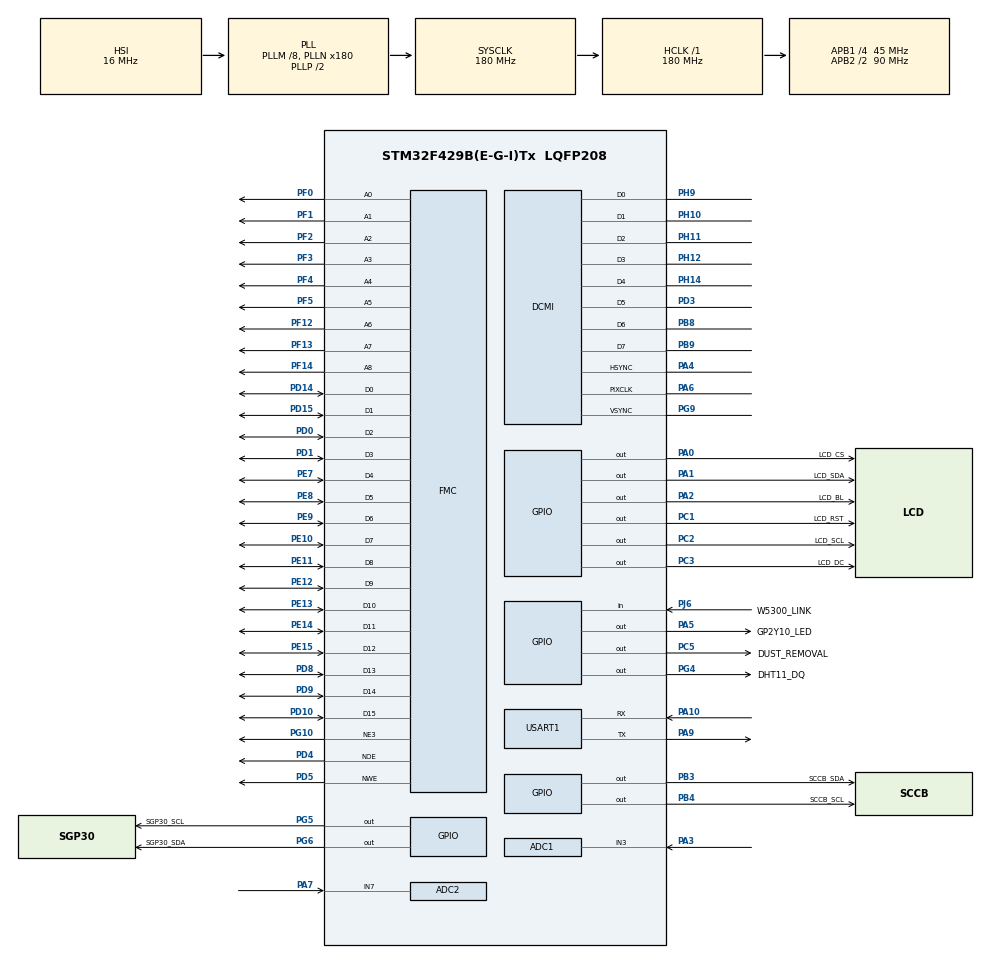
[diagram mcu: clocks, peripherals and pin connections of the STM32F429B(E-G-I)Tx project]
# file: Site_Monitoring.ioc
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ADC1.Channel-0\#ChannelRegularConversion=ADC_CHANNEL_3
ADC1.NbrOfConversionFlag=1
ADC1.Rank-0\#ChannelRegularConversion=1
ADC1.SamplingTime-0\#ChannelRegularConversion=ADC_SAMPLETIME_3CYCLES
ADC1.master=1
ADC2.Channel-1\#ChannelRegularConversion=ADC_CHANNEL_7
ADC2.NbrOfConversionFlag=1
ADC2.Rank-1\#ChannelRegularConversion=1
ADC2.SamplingTime-1\#ChannelRegularConversion=ADC_SAMPLETIME_3CYCLES
DCMI.JPEGMode=DCMI_JPEG_DISABLE
DCMI.PCKPolarity=DCMI_PCKPOLARITY_RISING
Dma.DCMI.0.Direction=DMA_PERIPH_TO_MEMORY
Dma.DCMI.0.FIFOMode=DMA_FIFOMODE_ENABLE
Dma.DCMI.0.FIFOThreshold=DMA_FIFO_THRESHOLD_HALFFULL
Dma.DCMI.0.Instance=DMA2_Stream1
Dma.DCMI.0.MemBurst=DMA_MBURST_SINGLE
Dma.DCMI.0.MemDataAlignment=DMA_MDATAALIGN_HALFWORD
Dma.DCMI.0.MemInc=DMA_MINC_DISABLE
Dma.DCMI.0.Mode=DMA_CIRCULAR
Dma.DCMI.0.PeriphBurst=DMA_PBURST_SINGLE
Dma.DCMI.0.PeriphDataAlignment=DMA_PDATAALIGN_WORD
Dma.DCMI.0.PeriphInc=DMA_PINC_DISABLE
Dma.DCMI.0.Priority=DMA_PRIORITY_HIGH
Dma.Request0=DCMI
FMC.WriteOperation1=FMC_WRITE_OPERATION_ENABLE
Mcu.Family=STM32F4
Mcu.Name=STM32F429B(E-G-I)Tx
Mcu.Package=LQFP208
NVIC.DCMI_IRQn=true\:0\:0\:true\:false\:true\:true\:true\:true
NVIC.DMA2_Stream1_IRQn=true\:0\:0\:true\:false\:true\:false\:true\:true
NVIC.PriorityGroup=NVIC_PRIORITYGROUP_4
NVIC.TIM6_DAC_IRQn=true\:0\:0\:false\:false\:true\:true\:true\:true
PA0/WKUP.GPIO_Label=LCD_CS
PA0/WKUP.Signal=GPIO_Output
PA1.GPIO_Label=LCD_SDA
PA1.Signal=GPIO_Output
PA10.Mode=Asynchronous
PA10.Signal=USART1_RX
PA2.GPIO_Label=LCD_BL
PA2.Signal=GPIO_Output
PA3.Signal=ADCx_IN3
PA4.Mode=Slave_8_bits_External_Synchro
PA4.Signal=DCMI_HSYNC
PA5.GPIO_Label=GP2Y10_LED
PA5.GPIO_PuPd=GPIO_PULLUP
PA5.GPIO_Speed=GPIO_SPEED_FREQ_HIGH
PA5.Signal=GPIO_Output
PA6.Mode=Slave_8_bits_External_Synchro
PA6.Signal=DCMI_PIXCLK
PA7.Signal=ADCx_IN7
PA9.Mode=Asynchronous
PA9.Signal=USART1_TX
PB3.GPIO_Label=SCCB_SDA
PB3.GPIO_PuPd=GPIO_PULLUP
PB3.GPIO_Speed=GPIO_SPEED_FREQ_HIGH
PB3.Signal=GPIO_Output
PB4.GPIO_Label=SCCB_SCL
PB4.GPIO_PuPd=GPIO_PULLUP
PB4.GPIO_Speed=GPIO_SPEED_FREQ_HIGH
PB4.Signal=GPIO_Output
PB8.Mode=Slave_8_bits_External_Synchro
PB8.Signal=DCMI_D6
PB9.Mode=Slave_8_bits_External_Synchro
PB9.Signal=DCMI_D7
PC1.GPIO_Label=LCD_RST
PC1.Signal=GPIO_Output
PC2.GPIO_Label=LCD_SCL
PC2.Signal=GPIO_Output
PC3.GPIO_Label=LCD_DC
PC3.Signal=GPIO_Output
PC5.GPIO_Label=DUST_REMOVAL
PC5.Signal=GPIO_Output
PD0.Signal=FMC_D2_DA2
PD1.Signal=FMC_D3_DA3
PD10.Signal=FMC_D15_DA15
PD14.Signal=FMC_D0_DA0
PD15.Signal=FMC_D1_DA1
PD3.Mode=Slave_8_bits_External_Synchro
PD3.Signal=DCMI_D5
PD4.Signal=FMC_NOE
PD5.Signal=FMC_NWE
PD8.Signal=FMC_D13_DA13
PD9.Signal=FMC_D14_DA14
PE10.Signal=FMC_D7_DA7
PE11.Signal=FMC_D8_DA8
PE12.Signal=FMC_D9_DA9
PE13.Signal=FMC_D10_DA10
PE14.Signal=FMC_D11_DA11
PE15.Signal=FMC_D12_DA12
PE7.Signal=FMC_D4_DA4
PE8.Signal=FMC_D5_DA5
PE9.Signal=FMC_D6_DA6
PF0.Signal=FMC_A0
PF1.Signal=FMC_A1
PF12.Signal=FMC_A6
PF13.Signal=FMC_A7
PF14.Signal=FMC_A8
PF2.Signal=FMC_A2
PF3.Signal=FMC_A3
PF4.Signal=FMC_A4
PF5.Signal=FMC_A5
PG10.Mode=NorPsramChipSelect3_1
PG10.Signal=FMC_NE3
PG4.GPIO_Label=DHT11_DQ
PG4.GPIO_ModeDefaultOutputPP=GPIO_MODE_OUTPUT_OD
PG4.GPIO_PuPd=GPIO_PULLUP
PG4.GPIO_Speed=GPIO_SPEED_FREQ_HIGH
PG4.PinState=GPIO_PIN_SET
PG4.Signal=GPIO_Output
PG5.GPIO_Label=SGP30_SCL
PG5.GPIO_PuPd=GPIO_PULLUP
PG5.GPIO_Speed=GPIO_SPEED_FREQ_HIGH
PG5.Signal=GPIO_Output
PG6.GPIO_Label=SGP30_SDA
PG6.GPIO_PuPd=GPIO_PULLUP
PG6.GPIO_Speed=GPIO_SPEED_FREQ_HIGH
PG6.Signal=GPIO_Output
PG9.Mode=Slave_8_bits_External_Synchro
PG9.Signal=DCMI_VSYNC
PH0/OSC_IN.Mode=HSE-External-Oscillator
PH0/OSC_IN.Signal=RCC_OSC_IN
PH1/OSC_OUT.Mode=HSE-External-Oscillator
PH1/OSC_OUT.Signal=RCC_OSC_OUT
PH10.Mode=Slave_8_bits_External_Synchro
PH10.Signal=DCMI_D1
PH11.Mode=Slave_8_bits_External_Synchro
PH11.Signal=DCMI_D2
PH12.Mode=Slave_8_bits_External_Synchro
PH12.Signal=DCMI_D3
PH14.Mode=Slave_8_bits_External_Synchro
PH14.Signal=DCMI_D4
PH9.Mode=Slave_8_bits_External_Synchro
PH9.Signal=DCMI_D0
PJ6.GPIO_Label=W5300_LINK
PJ6.GPIO_PuPd=GPIO_NOPULL
PJ6.Signal=GPIO_Input
ProjectManager.HeapSize=0x200
ProjectManager.StackSize=0x400
ProjectManager.TargetToolchain=MDK-ARM V5.32
RCC.48MHZClocksFreq_Value=90000000
RCC.AHBFreq_Value=180000000
RCC.APB1CLKDivider=RCC_HCLK_DIV4
RCC.APB1Freq_Value=45000000
RCC.APB1TimFreq_Value=90000000
RCC.APB2CLKDivider=RCC_HCLK_DIV2
RCC.APB2Freq_Value=90000000
RCC.APB2TimFreq_Value=180000000
RCC.CortexFreq_Value=180000000
RCC.HCLKFreq_Value=180000000
RCC.HSE_VALUE=25000000
RCC.HSI_VALUE=16000000
RCC.LSE_VALUE=32768
RCC.PLLM=8
RCC.PLLN=180
RCC.PLLSAIN=50
RCC.SYSCLKFreq_VALUE=180000000
RCC.SYSCLKSource=RCC_SYSCLKSOURCE_PLLCLK
RCC.VCOOutputFreq_Value=360000000
SH.ADCx_IN3.0=ADC1_IN3,IN3
SH.ADCx_IN7.0=ADC2_IN7,IN7
SH.FMC_A0.0=FMC_A0,9b-a1
SH.FMC_A1.0=FMC_A1,9b-a1
SH.FMC_A2.0=FMC_A2,9b-a1
SH.FMC_A3.0=FMC_A3,9b-a1
SH.FMC_A4.0=FMC_A4,9b-a1
SH.FMC_A5.0=FMC_A5,9b-a1
SH.FMC_A6.0=FMC_A6,9b-a1
SH.FMC_A7.0=FMC_A7,9b-a1
SH.FMC_A8.0=FMC_A8,9b-a1
SH.FMC_D0_DA0.0=FMC_D0,16b-d1
SH.FMC_D10_DA10.0=FMC_D10,16b-d1
SH.FMC_D11_DA11.0=FMC_D11,16b-d1
SH.FMC_D12_DA12.0=FMC_D12,16b-d1
SH.FMC_D13_DA13.0=FMC_D13,16b-d1
SH.FMC_D14_DA14.0=FMC_D14,16b-d1
SH.FMC_D15_DA15.0=FMC_D15,16b-d1
SH.FMC_D1_DA1.0=FMC_D1,16b-d1
SH.FMC_D2_DA2.0=FMC_D2,16b-d1
SH.FMC_D3_DA3.0=FMC_D3,16b-d1
SH.FMC_D4_DA4.0=FMC_D4,16b-d1
SH.FMC_D5_DA5.0=FMC_D5,16b-d1
SH.FMC_D6_DA6.0=FMC_D6,16b-d1
SH.FMC_D7_DA7.0=FMC_D7,16b-d1
SH.FMC_D8_DA8.0=FMC_D8,16b-d1
SH.FMC_D9_DA9.0=FMC_D9,16b-d1
SH.FMC_NOE.0=FMC_NOE,Psram1
SH.FMC_NWE.0=FMC_NWE,Psram1
TIM6.AutoReloadPreload=TIM_AUTORELOAD_PRELOAD_ENABLE
TIM6.Period=45000-1
TIM6.Prescaler=1
USART1.VirtualMode=VM_ASYNC
VP_TIM6_VS_ClockSourceINT.Mode=Enable_Timer
board=custom

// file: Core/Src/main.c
/* USER CODE BEGIN Header */
/**
 ******************************************************************************
 * @file           : main.c
 * @brief          : Main program body
 ******************************************************************************
 * @attention
 *
 * Copyright (c) 2023 STMicroelectronics.
 * All rights reserved.
 *
 * This software is licensed under terms that can be found in the LICENSE file
 * in the root directory of this software component.
 * If no LICENSE file comes with this software, it is provided AS-IS.
 *
 ******************************************************************************
 */
/* USER CODE END Header */
#include "main.h"
#include "adc.h"
#include "dcmi.h"
#include "dma.h"
#include "tim.h"
#include "usart.h"
#include "gpio.h"
#include "fmc.h"

/* USER CODE BEGIN Includes */

#include <stdio.h>
#include <string.h>
#include <stdlib.h>
#include "delay.h"
#include "w5300_config.h"
#include "w5300_aliyun.h"
#include "eth_video.h"
#include "lcd.h"
#include "sgp30.h"
#include "gp2y10.h"
#include "light_check.h"
#include "dht11.h"

/* USER CODE END Includes */

/* USER CODE BEGIN PV */

uint8_t parms_update_count = 0;
uint8_t image_update_count = 0;
uint8_t aliyun_auto_up_count = 0;

/* USER CODE END PV */

void SystemClock_Config(void);
/* USER CODE BEGIN PFP */

void demo_run(void);

/* USER CODE END PFP */

int main(void)
{
  /* USER CODE BEGIN 1 */

  uint8_t lcd_buff[64] = {0};
  uint32_t sgp30_dat = 0;
  uint32_t CO2Data = 0;
  uint32_t TVOCData = 0;
  uint16_t AQI = 0;
  uint16_t PM25 = 0;
  uint16_t Light = 0;
  uint8_t Temperature = 0;
  uint8_t Humidity = 0;
  uint8_t bust_removal_flag = 0;

  uint8_t payload[128] = {0};

  /* USER CODE END 1 */

  /* MCU Configuration--------------------------------------------------------*/

  /* Reset of all peripherals, Initializes the Flash interface and the Systick. */
  HAL_Init();

  /* Configure the system clock */
  SystemClock_Config();

  /* Initialize all configured peripherals */
  MX_GPIO_Init();
  MX_DMA_Init();
  MX_DCMI_Init();
  MX_USART1_UART_Init();
  MX_FMC_Init();
  MX_ADC1_Init();
  MX_TIM6_Init();
  MX_ADC2_Init();
  /* USER CODE BEGIN 2 */

  delay_init(180);

  printf("STM32F429BIT6  WizNET W5300.\r\n");

  w5300_init();
  aliyun_init();
  eth_video_init();
  LCD_Init();
  SGP30_Init();
  dht11_init();

  /* USER CODE END 2 */

  /* Infinite loop */
  /* USER CODE BEGIN WHILE */

  LCD_Clear(BLACK);
  POINT_COLOR = RED;
  BACK_COLOR = BLACK;
  LCD_ShowString(0, 0, 240, 16, 16, "Initializing...");

  do
  {
    SGP30_Write(0x20, 0x08);
    sgp30_dat = SGP30_Read();
    CO2Data = (sgp30_dat & 0xffff0000) >> 16;
    TVOCData = sgp30_dat & 0x0000ffff;
    HAL_Delay(100);
  } while (CO2Data == 400 && TVOCData == 0);

  LCD_Clear(WHITE);

  while (1)
  {
    do_aliyun_run();
    eth_video_run();

    SGP30_Write(0x20, 0x08);
    sgp30_dat = SGP30_Read();
    CO2Data = (sgp30_dat & 0xffff0000) >> 16;
    TVOCData = sgp30_dat & 0x0000ffff;

    get_gp2y10_value(&AQI, &PM25);

    get_light_value(&Light);

    dht11_read_data(&Temperature, &Humidity);

    if ((AQI >= 50) || (Temperature > 40))
    {
      HAL_GPIO_WritePin(DUST_REMOVAL_GPIO_Port, DUST_REMOVAL_Pin, GPIO_PIN_RESET);
      bust_removal_flag = 1;
    }
    else
    {
      HAL_GPIO_WritePin(DUST_REMOVAL_GPIO_Port, DUST_REMOVAL_Pin, GPIO_PIN_SET);
      bust_removal_flag = 0;
    }

    if (parms_update_count >= 1)
    {
      parms_update_count = 0;
      POINT_COLOR = BLUE;
      BACK_COLOR = WHITE;

      memset(lcd_buff, 0, sizeof(lcd_buff));
      sprintf((char *)lcd_buff, "CO2:%dppm    ", CO2Data);
      LCD_ShowString(0, 160 + 16, 120, 16, 16, lcd_buff);

      memset(lcd_buff, 0, sizeof(lcd_buff));
      sprintf((char *)lcd_buff, "TVOC:%dppd    ", TVOCData);
      LCD_ShowString(120, 160 + 16, 120, 16, 16, lcd_buff);

      memset(lcd_buff, 0, sizeof(lcd_buff));
      sprintf((char *)lcd_buff, "AQI:%d    ", AQI);
      LCD_ShowString(0, 160 + 32, 120, 16, 16, lcd_buff);

      memset(lcd_buff, 0, sizeof(lcd_buff));
      sprintf((char *)lcd_buff, "PM2.5:%dmg/m3    ", PM25);
      LCD_ShowString(120, 160 + 32, 120, 16, 16, lcd_buff);

      memset(lcd_buff, 0, sizeof(lcd_buff));
      sprintf((char *)lcd_buff, "TEMP:%d    ", Temperature);
      LCD_ShowString(0, 160 + 48, 120, 16, 16, lcd_buff);

      memset(lcd_buff, 0, sizeof(lcd_buff));
      sprintf((char *)lcd_buff, "HUMI:%d%%    ", Humidity);
      LCD_ShowString(120, 160 + 48, 120, 16, 16, lcd_buff);

      memset(lcd_buff, 0, sizeof(lcd_buff));
      sprintf((char *)lcd_buff, "Light:%d%%    ", Light);
      LCD_ShowString(0, 160 + 64, 120, 16, 16, lcd_buff);

      memset(lcd_buff, 0, sizeof(lcd_buff));
      sprintf((char *)lcd_buff, "DUST:%d    ", bust_removal_flag);
      LCD_ShowString(120, 160 + 64, 120, 16, 16, lcd_buff);
    }

    if (image_update_count >= 10)
    {
      image_update_count = 0;
      LCD_ShowImage(get_video_rgb565(), 0, 0);
    }

    if (aliyun_auto_up_count >= 1)
    {
      aliyun_auto_up_count = 0;
      sprintf((char*)payload, "{\"params\":{\
\"co2\":{\"value\":%d},\
\"TVOC\":{\"value\":%d},\
\"PM25\":{\"value\":%d},\
\"mtemp\":{\"value\":%d},\
\"mhumi\":{\"value\":%d},\
\"mlux\":{\"value\":%d}\
},\"method\":\"thing.event.property.post\"}", CO2Data, TVOCData, PM25, Temperature, Humidity, Light);
      aliyun_publish(payload);
    }

    /* USER CODE END WHILE */

  }
}

void SystemClock_Config(void)
{
  RCC_OscInitTypeDef RCC_OscInitStruct = {0};
  RCC_ClkInitTypeDef RCC_ClkInitStruct = {0};

  /** Configure the main internal regulator output voltage
  */
  __HAL_RCC_PWR_CLK_ENABLE();
  __HAL_PWR_VOLTAGESCALING_CONFIG(PWR_REGULATOR_VOLTAGE_SCALE1);

  /** Initializes the RCC Oscillators according to the specified parameters
  * in the RCC_OscInitTypeDef structure.
  */
  RCC_OscInitStruct.OscillatorType = RCC_OSCILLATORTYPE_HSI;
  RCC_OscInitStruct.HSIState = RCC_HSI_ON;
  RCC_OscInitStruct.HSICalibrationValue = RCC_HSICALIBRATION_DEFAULT;
  RCC_OscInitStruct.PLL.PLLState = RCC_PLL_ON;
  RCC_OscInitStruct.PLL.PLLSource = RCC_PLLSOURCE_HSI;
  RCC_OscInitStruct.PLL.PLLM = 8;
  RCC_OscInitStruct.PLL.PLLN = 180;
  RCC_OscInitStruct.PLL.PLLP = RCC_PLLP_DIV2;
  RCC_OscInitStruct.PLL.PLLQ = 4;
  if (HAL_RCC_OscConfig(&RCC_OscInitStruct) != HAL_OK)
  {
    Error_Handler();
  }

  /** Activate the Over-Drive mode
  */
  if (HAL_PWREx_EnableOverDrive() != HAL_OK)
  {
    Error_Handler();
  }

  /** Initializes the CPU, AHB and APB buses clocks
  */
  RCC_ClkInitStruct.ClockType = RCC_CLOCKTYPE_HCLK|RCC_CLOCKTYPE_SYSCLK
                              |RCC_CLOCKTYPE_PCLK1|RCC_CLOCKTYPE_PCLK2;
  RCC_ClkInitStruct.SYSCLKSource = RCC_SYSCLKSOURCE_PLLCLK;
  RCC_ClkInitStruct.AHBCLKDivider = RCC_SYSCLK_DIV1;
  RCC_ClkInitStruct.APB1CLKDivider = RCC_HCLK_DIV4;
  RCC_ClkInitStruct.APB2CLKDivider = RCC_HCLK_DIV2;

  if (HAL_RCC_ClockConfig(&RCC_ClkInitStruct, FLASH_LATENCY_5) != HAL_OK)
  {
    Error_Handler();
  }
}

/* USER CODE BEGIN 4 */

void main_timer(void)
{
  parms_update_count++;
  image_update_count++;
  aliyun_auto_up_count++;
}

/* USER CODE END 4 */

void Error_Handler(void)
{
  __disable_irq();
  while (1)
  {
  }
}
